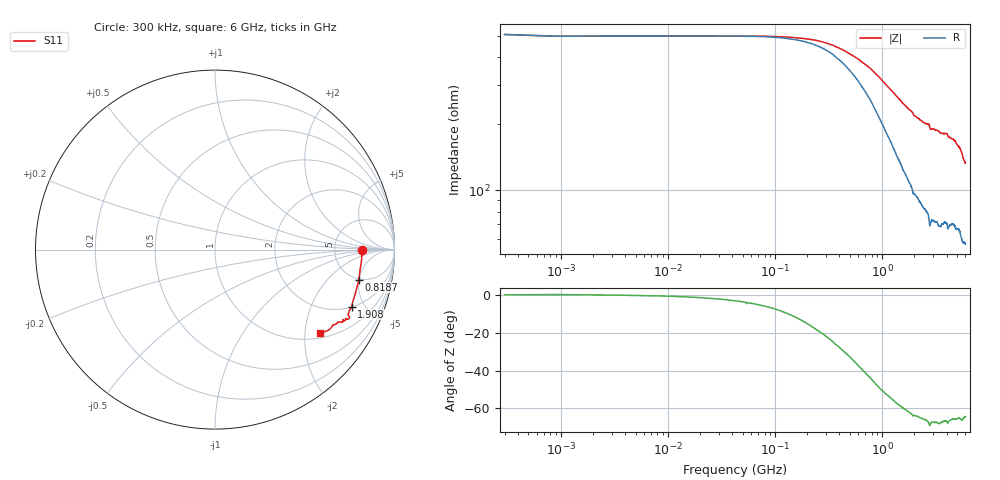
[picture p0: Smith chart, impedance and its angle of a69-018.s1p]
!  3/12/2021  10:10:09
! Ref Plane: 23.990 mm
# MHZ S MA R  50
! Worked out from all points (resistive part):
!   10001 points, 300 kHz to 6 GHz, reference 50 ohm
!   read as one part to ground: R = 498 ohm at 30.3 MHz
!   S11 on the Smith chart (normalised r, x): 300 kHz: 10, +0; 818.7 MHz: 4.88, -4.93; 1.908 GHz: 2.03, -4.04; 6 GHz: 1.14, -2.39
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0.3  0.8202 0.0
384.2808  0.8173 -5.9
750.2625  0.8177 -10.9
818.6591  0.8177 -11.8
1102.445  0.8185 -15.4
1500.225  0.8199 -19.4
1907.605  0.8257 -22.6
1972.401  0.8242 -23.4
2250.188  0.8233 -24.7
2550.173  0.8247 -25.9
2688.166  0.8295 -26.2
2757.762  0.8387 -26.7
2809.36  0.8344 -27.7
2862.757  0.8258 -27.8
3000.15  0.8245 -27.7
3337.333  0.8262 -28.3
3509.524  0.8222 -28.9
3750.113  0.8147 -28.9
3894.705  0.8131 -28.8
4071.696  0.8183 -29.2
4189.291  0.8091 -30.0
4500.075  0.7986 -30.2
4776.061  0.7952 -30.8
5250.038  0.7801 -32.8
5530.224  0.7774 -34.8
5682.616  0.7678 -36.4
5784.011  0.7576 -37.2
6000  0.7455 -38.5
